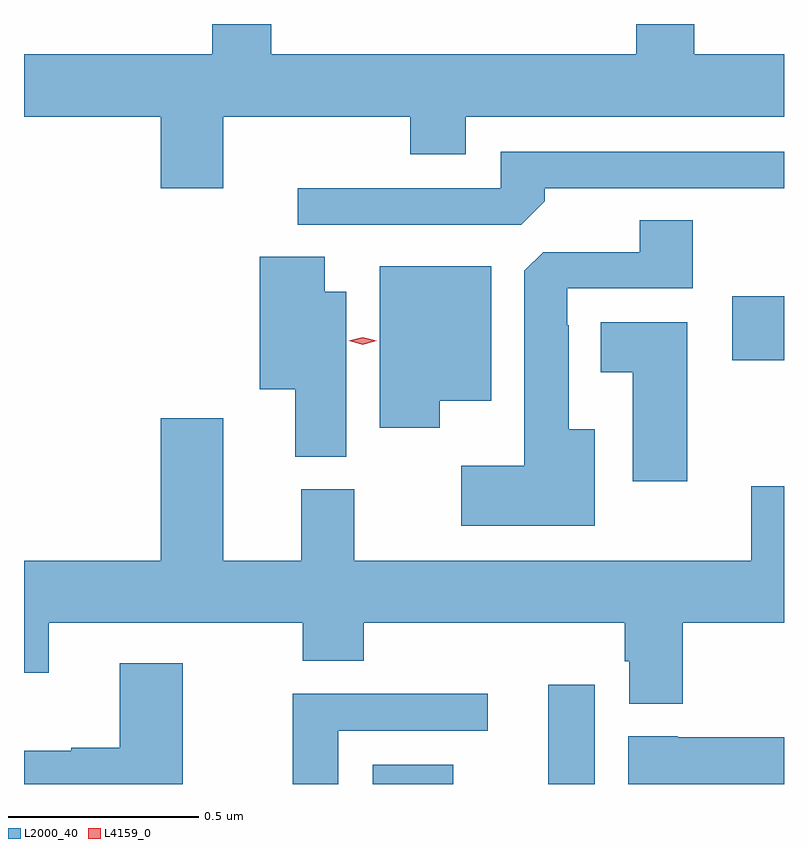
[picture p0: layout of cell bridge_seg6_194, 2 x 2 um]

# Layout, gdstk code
import gdstk
lib = gdstk.Library(unit=1e-6, precision=1e-09)
def R(c, l, rs):  # rectangles x0, y0, x1, y1
    for r in rs: c.add(gdstk.rectangle(r[:2], r[2:], *l))
def P(c, l, *ps):  # polygons
    for p in ps: c.add(gdstk.Polygon(p, *l))
L2000_40 = (2000, 40)
L4159_0 = (4159, 0)

bridge_seg6_194 = lib.new_cell('bridge_seg6_194')
R(bridge_seg6_194, L2000_40, [(333.398,934.924,333.61,934.975), (333.86,934.924,333.982,935.185), (334.344,936.039,334.48,936.208)])
P(bridge_seg6_194, L2000_40, [(333.004,936.68),(333.496,936.68),(333.496,936.581),(333.643,936.581),(333.643,936.68),(334.48,936.68),(334.48,936.844),(334.244,936.844),(334.244,936.924),(334.091,936.924),(334.091,936.844),(333.131,936.844),(333.131,936.924),(332.975,936.924),(332.975,936.844),(332.48,936.844),(332.48,936.68),(332.84,936.68),(332.84,936.492),(333.004,936.492)],
  [(333.851,936.458),(333.851,936.492),(334.48,936.492),(334.48,936.588),(333.735,936.588),(333.735,936.492),(333.201,936.492),(333.201,936.396),(333.789,936.396)],
  [(333.982,935.857),(333.913,935.857),(333.913,936.131),(333.909,936.131),(333.909,936.228),(334.24,936.228),(334.24,936.407),(334.1,936.407),(334.1,936.324),(333.846,936.324),(333.797,936.275),(333.797,935.761),(333.63,935.761),(333.63,935.603),(333.982,935.603)],
  [(333.328,936.22),(333.271,936.22),(333.271,936.311),(333.101,936.311),(333.101,935.963),(333.194,935.963),(333.194,935.785),(333.328,935.785)],
  [(333.574,935.933),(333.709,935.933),(333.709,936.286),(333.416,936.286),(333.416,935.862),(333.574,935.862)],
  [(334.225,936.139),(333.998,936.139),(333.998,936.008),(334.082,936.008),(334.082,935.721),(334.225,935.721)],
  [(334.214,935.348),(334.48,935.348),(334.48,935.707),(334.394,935.707),(334.394,935.512),(333.349,935.512),(333.349,935.7),(333.209,935.7),(333.209,935.512),(333.004,935.512),(333.004,935.887),(332.84,935.887),(332.84,935.512),(332.48,935.512),(332.48,935.217),(332.545,935.217),(332.545,935.348),(333.214,935.348),(333.214,935.249),(333.374,935.249),(333.374,935.348),(334.061,935.348),(334.061,935.247),(334.073,935.247),(334.073,935.135),(334.214,935.135)],
  [(332.898,935.242),(332.732,935.242),(332.732,935.019),(332.604,935.019),(332.604,935.011),(332.48,935.011),(332.48,934.924),(332.898,934.924)],
  [(333.307,935.064),(333.7,935.064),(333.7,935.162),(333.187,935.162),(333.187,934.924),(333.307,934.924)],
  [(334.48,935.047),(334.2,935.047),(334.2,935.05),(334.07,935.05),(334.07,934.924),(334.48,934.924)])
P(bridge_seg6_194, L4159_0, [(333.371,936.08),(333.335,936.09),(333.334,936.091),(333.335,936.091),(333.371,936.1),(333.408,936.09),(333.408,936.09),(333.408,936.09)])

lib.write_gds('bridge_seg6_194.gds')
